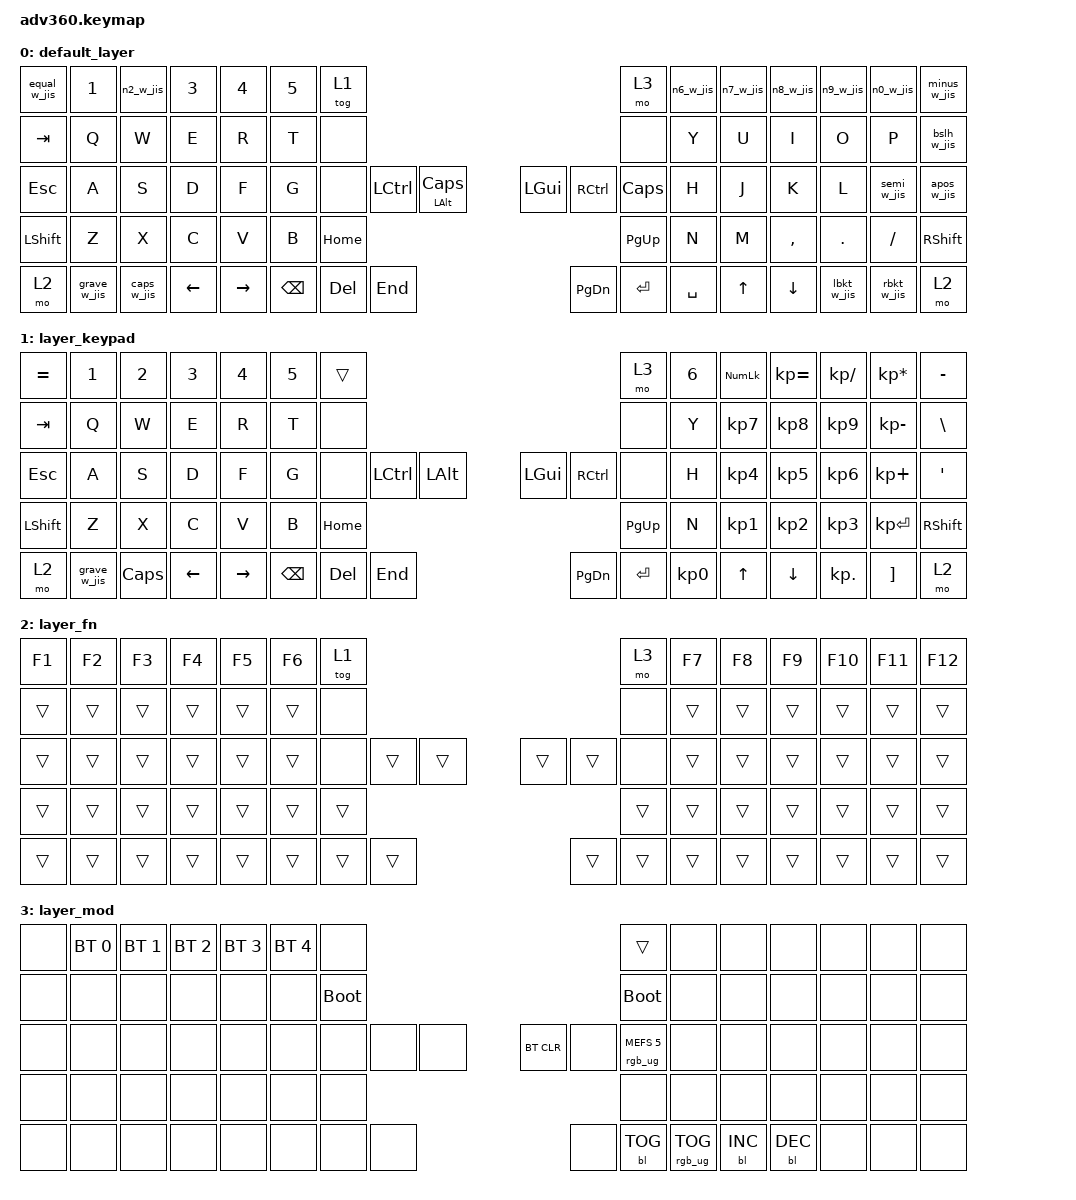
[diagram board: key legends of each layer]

/*
 * Copyright (c) 2020 The ZMK Contributors
 *
 * SPDX-License-Identifier: MIT
 */


/* THIS FILE WAS GENERATED!
 *
 * This file was generated automatically. You may or may not want to
 * edit it directly.
 */

#include <behaviors.dtsi>
#include <dt-bindings/zmk/keys.h>
#include <dt-bindings/zmk/bt.h>
#include <dt-bindings/zmk/rgb.h>
#include <dt-bindings/zmk/backlight.h>

/ {
  behaviors {
    #include "macros.dtsi"
    #include "local_behaviors.keymap"

    hm: homerow_mods {
        compatible = "zmk,behavior-hold-tap";
        label = "HOMEROW_MODS";
        #binding-cells = <2>;
        tapping-term-ms = <200>;
        quick_tap_ms = <175>;
        flavor = "tap-preferred";
        bindings = <&kp>, <&kp>;
    };
  };

    keymap {
        compatible = "zmk,keymap";


        default_layer {
            bindings = <
 &equal_w_jis   &kp N1    &n2_w_jis &kp N3     &kp N4  &kp N5              &tog 1                                                      &mo 3    &n6_w_jis  &n7_w_jis &n8_w_jis &n9_w_jis   &n0_w_jis    &minus_w_jis
   &kp TAB      &kp Q     &kp W     &kp E      &kp R   &kp T               &none                                                       &none &kp Y      &kp U    &kp I     &kp O       &kp P        &bslh_w_jis
   &kp ESC      &kp A     &kp S     &kp D      &kp F   &kp G               &none  &kp LCTRL &mt LALT CAPS          &kp LGUI  &kp RCTRL &kp CAPS  &kp H      &kp J    &kp K     &kp L       &semi_w_jis  &apos_w_jis
 &kp LSHFT      &kp Z     &kp X     &kp C      &kp V   &kp B                                &kp HOME               &kp PG_UP                     &kp N      &kp M    &kp COMMA &kp DOT     &kp FSLH     &kp RSHFT
     &mo 2  &grave_w_jis  &caps_w_jis  &kp LEFT  &kp RIGHT                 &kp BSPC  &kp DEL   &kp END                &kp PG_DN  &kp ENTER   &kp SPACE         &kp UP   &kp DOWN  &lbkt_w_jis &rbkt_w_jis  &mo 2
            >;
        };
/*
        default_layer {
            bindings = <
 &kp EQUAL     &kp N1    &kp N2    &kp N3     &kp N4  &kp N5              &tog 1                                                                     &mo 3  &kp N6  &kp N7     &kp N8    &kp N9    &kp N0  &kp MINUS
   &kp TAB      &kp Q     &kp W     &kp E      &kp R   &kp T               &none                                                                     &none   &kp Y   &kp U      &kp I     &kp O     &kp P   &kp BSLH
   &kp ESC      &kp A     &kp S     &kp D      &kp F   &kp G               &none  &kp LCTRL  &kp LALT                   &kp LGUI  &kp RCTRL  &kp LA(GRAVE)   &kp H   &kp J      &kp K     &kp L  &kp SEMI    &kp SQT
 &kp LSHFT      &kp Z     &kp X     &kp C      &kp V   &kp B                                 &kp HOME                  &kp PG_UP                             &kp N   &kp M  &kp COMMA   &kp DOT  &kp FSLH  &kp RSHFT
     &mo 2  &kp GRAVE  &kp CAPS  &kp LEFT  &kp RIGHT                    &kp BSPC    &kp DEL   &kp END                  &kp PG_DN  &kp ENTER      &kp SPACE          &kp UP   &kp DOWN  &kp LBKT  &kp RBKT      &mo 2
            >;
        };
*/
        layer_keypad {
            bindings = <
 &kp EQUAL     &kp N1    &kp N2    &kp N3     &kp N4  &kp N5              &trans                                                                 &mo 3  &kp N6  &kp KP_NUM  &kp KP_EQUAL  &kp KP_DIVIDE  &kp KP_MULTIPLY  &kp MINUS
   &kp TAB      &kp Q     &kp W     &kp E      &kp R   &kp T               &none                                                                 &none   &kp Y   &kp KP_N7     &kp KP_N8      &kp KP_N9     &kp KP_MINUS   &kp BSLH
   &kp ESC      &kp A     &kp S     &kp D      &kp F   &kp G               &none  &kp LCTRL  &kp LALT                   &kp LGUI  &kp RCTRL      &none   &kp H   &kp KP_N4     &kp KP_N5      &kp KP_N6      &kp KP_PLUS    &kp SQT
 &kp LSHFT      &kp Z     &kp X     &kp C      &kp V   &kp B                                 &kp HOME                  &kp PG_UP                         &kp N   &kp KP_N1     &kp KP_N2      &kp KP_N3     &kp KP_ENTER  &kp RSHFT
     &mo 2  &grave_w_jis  &kp CAPS  &kp LEFT  &kp RIGHT                    &kp BSPC    &kp DEL   &kp END                  &kp PG_DN  &kp ENTER  &kp KP_N0              &kp UP      &kp DOWN     &kp KP_DOT         &kp RBKT      &mo 2
            >;
        };

        layer_fn {
            bindings = <
 &kp F1  &kp F2  &kp F3  &kp F4  &kp F5  &kp F6            &tog 1                                                   &mo 3  &kp F7  &kp F8  &kp F9  &kp F10  &kp F11  &kp F12
 &trans  &trans  &trans  &trans  &trans  &trans             &none                                                   &none  &trans  &trans  &trans   &trans   &trans   &trans
 &trans  &trans  &trans  &trans  &trans  &trans             &none  &trans  &trans                  &trans  &trans   &none  &trans  &trans  &trans   &trans   &trans   &trans
 &trans  &trans  &trans  &trans  &trans  &trans                            &trans                  &trans                  &trans  &trans  &trans   &trans   &trans   &trans
 &trans  &trans  &trans  &trans  &trans                    &trans  &trans  &trans                  &trans  &trans  &trans          &trans  &trans   &trans   &trans   &trans
            >;
        };

        layer_mod {
            bindings = <
  &none  &bt BT_SEL 0  &bt BT_SEL 1  &bt BT_SEL 2  &bt BT_SEL 3  &bt BT_SEL 4                  &none                                                                          &trans   &none       &none       &none   &none   &none   &none
  &none         &none         &none         &none         &none         &none            &bootloader                                                                     &bootloader   &none       &none       &none   &none   &none   &none
  &none         &none         &none         &none         &none         &none                  &none   &none   &none                  &bt BT_CLR       &none  &rgb_ug RGB_MEFS_CMD 5   &none       &none       &none   &none   &none   &none
  &none         &none         &none         &none         &none         &none                                  &none                       &none                                       &none       &none       &none   &none   &none   &none
  &none         &none         &none         &none         &none                                &none   &none   &none                       &none  &bl BL_TOG         &rgb_ug RGB_TOG          &bl BL_INC  &bl BL_DEC   &none   &none   &none
            >;
        };

    };
};
